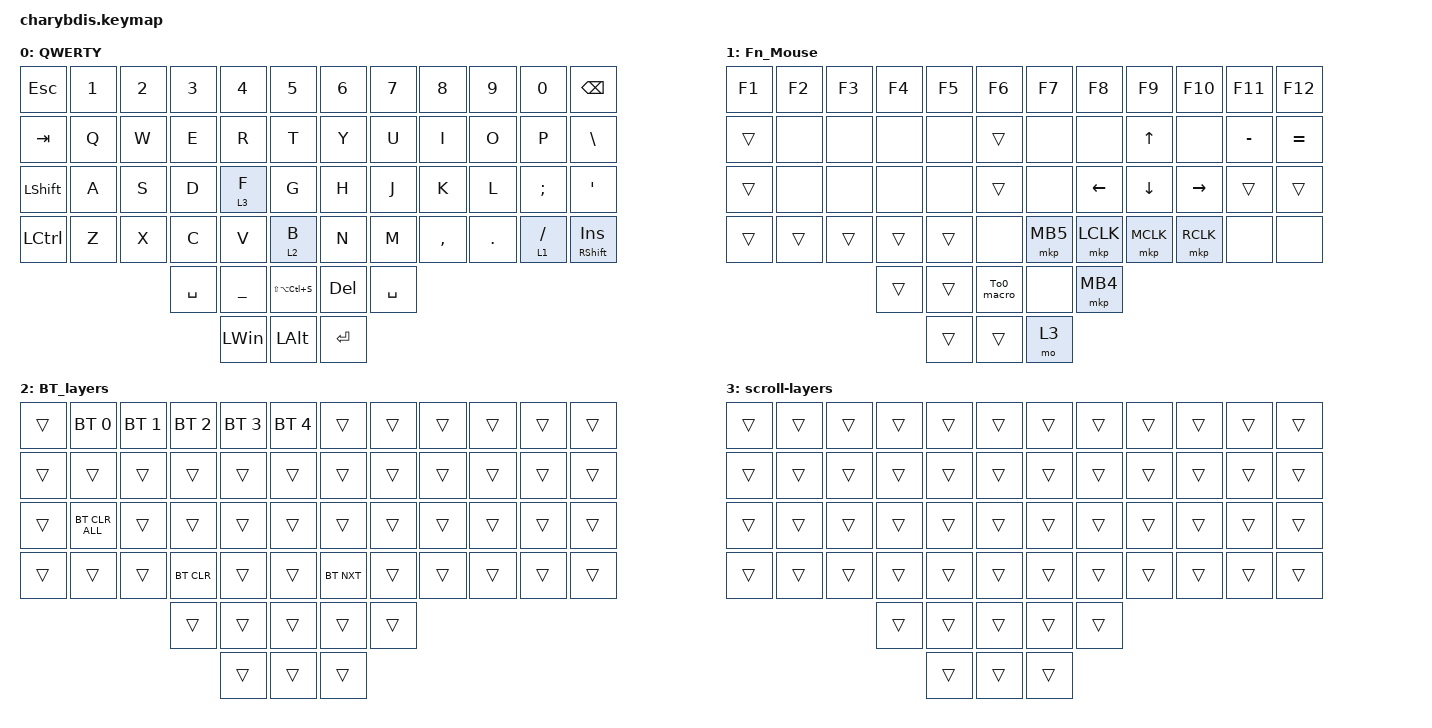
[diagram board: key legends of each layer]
#include <behaviors.dtsi>
#include <dt-bindings/zmk/bt.h>
#include <dt-bindings/zmk/keys.h>
#include <dt-bindings/zmk/pointing.h>
#include <dt-bindings/zmk/rgb.h>

&lt {
    tapping-term-ms = <200>;
    flavor = "balanced";
    quick-tap-ms = <150>;
};

/ {
    macros {
        To1_macro: To1_macro {
            compatible = "zmk,behavior-macro";
            label = "To1_macro";
            #binding-cells = <0>;
            bindings = <&rgb_ug RGB_EFF &rgb_ug RGB_COLOR_HSB(128,100,50) &to 1>;
        };

        To0_macro: To0_macro {
            compatible = "zmk,behavior-macro";
            label = "To0_macro";
            #binding-cells = <0>;
            bindings = <&rgb_ug RGB_EFR &to 0>;
        };

        To2_macro: To2_macro {
            compatible = "zmk,behavior-macro";
            label = "To2_macro";
            #binding-cells = <0>;
            bindings =
                <&to 2>,
                <&macro_wait_time 30>,
                <&rgb_ug RGB_COLOR_HSB(250,100,50)>;
        };
    };

    keymap {
        compatible = "zmk,keymap";

        QWERTY {
            bindings = <
&kp ESC           &kp N1  &kp N2  &kp N3     &kp N4          &kp N5               &kp N6      &kp N7     &kp N8     &kp N9   &kp N0       &kp BACKSPACE
&kp TAB           &kp Q   &kp W   &kp E      &kp R           &kp T                &kp Y       &kp U      &kp I      &kp O    &kp P        &kp BSLH
&kp LEFT_SHIFT    &kp A   &kp S   &kp D      &lt 3 F         &kp G                &kp H       &kp J      &kp K      &kp L    &kp SEMI     &kp SQT
&kp LEFT_CONTROL  &kp Z   &kp X   &kp C      &kp V           &lt 2 B              &kp N       &kp M      &kp COMMA  &kp DOT  &lt 1 SLASH  &mt RIGHT_SHIFT INSERT
                                  &kp SPACE  &kp UNDERSCORE  &kp LS(LA(LC(S)))    &kp DELETE  &kp SPACE
                                             &kp LEFT_WIN    &kp LEFT_ALT         &kp ENTER
            >;
        };

        Fn_Mouse {
            bindings = <
&kp F1  &kp F2  &kp F3  &kp F4  &kp F5  &kp F6        &kp F7    &kp F8     &kp F9     &kp F10    &kp F11    &kp F12
&trans  &none   &none   &none   &none   &trans        &none     &none      &kp UP     &none      &kp MINUS  &kp EQUAL
&trans  &none   &none   &none   &none   &trans        &none     &kp LEFT   &kp DOWN   &kp RIGHT  &trans     &trans
&trans  &trans  &trans  &trans  &trans  &none         &mkp MB5  &mkp LCLK  &mkp MCLK  &mkp RCLK  &none      &none
                        &trans  &trans  &To0_macro    &none     &mkp MB4
                                &trans  &trans        &mo 3
            >;
        };

        BT_layers {
            bindings = <
&trans  &bt BT_SEL 0    &bt BT_SEL 1  &bt BT_SEL 2  &bt BT_SEL 3  &bt BT_SEL 4    &trans      &trans  &trans  &trans  &trans  &trans
&trans  &trans          &trans        &trans        &trans        &trans          &trans      &trans  &trans  &trans  &trans  &trans
&trans  &bt BT_CLR_ALL  &trans        &trans        &trans        &trans          &trans      &trans  &trans  &trans  &trans  &trans
&trans  &trans          &trans        &bt BT_CLR    &trans        &trans          &bt BT_NXT  &trans  &trans  &trans  &trans  &trans
                                      &trans        &trans        &trans          &trans      &trans
                                                    &trans        &trans          &trans
            >;
        };

        scroll-layers {
            bindings = <
&trans  &trans  &trans  &trans  &trans  &trans    &trans  &trans  &trans  &trans  &trans  &trans
&trans  &trans  &trans  &trans  &trans  &trans    &trans  &trans  &trans  &trans  &trans  &trans
&trans  &trans  &trans  &trans  &trans  &trans    &trans  &trans  &trans  &trans  &trans  &trans
&trans  &trans  &trans  &trans  &trans  &trans    &trans  &trans  &trans  &trans  &trans  &trans
                        &trans  &trans  &trans    &trans  &trans
                                &trans  &trans    &trans
            >;
        };
    };
};
